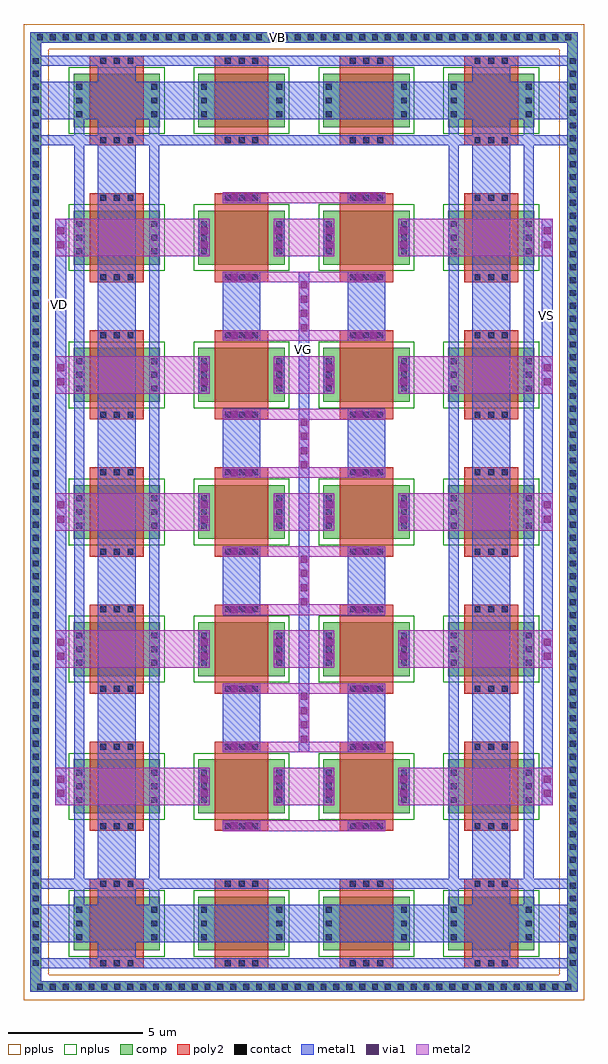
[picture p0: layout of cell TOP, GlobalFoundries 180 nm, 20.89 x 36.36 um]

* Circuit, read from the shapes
.subckt TOP VB VD VG VS
XM1 VB VB VB VB nfet_03v3 w=2u l=2u m=18
XM2 n1 VG VD VB nfet_03v3 w=2u l=2u
XM3 n2 VG VD VB nfet_03v3 w=2u l=2u
XM4 n3 VG VD VB nfet_03v3 w=2u l=2u
XM5 n4 VG VD VB nfet_03v3 w=2u l=2u
XM6 n5 VG VD VB nfet_03v3 w=2u l=2u
XM7 VS VG n1 VB nfet_03v3 w=2u l=2u
XM8 VS VG n2 VB nfet_03v3 w=2u l=2u
XM9 VS VG n3 VB nfet_03v3 w=2u l=2u
XM10 VS VG n4 VB nfet_03v3 w=2u l=2u
XM11 VS VG n5 VB nfet_03v3 w=2u l=2u
.ends

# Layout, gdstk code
from math import pi, radians
import gdstk
lib = gdstk.Library(unit=1e-6, precision=1e-09)
def R(c, l, rs):  # rectangles x0, y0, x1, y1
    for r in rs: c.add(gdstk.rectangle(r[:2], r[2:], *l))
def A(c, l, x, y, w, h, nx, ny, dx, dy):  # array of equal rectangles
    R(c, l, [(x+i*dx, y+j*dy, x+i*dx+w, y+j*dy+h) for i in range(nx) for j in range(ny)])
def P(c, l, *ps):  # polygons
    for p in ps: c.add(gdstk.Polygon(p, *l))
comp = (22, 0)
poly2 = (30, 0)
pplus = (31, 0)
nplus = (32, 0)
contact = (33, 0)
metal1 = (34, 0)
via1 = (35, 0)
metal2 = (36, 0)

nfet = lib.new_cell('nfet')
R(nfet, comp, [(-0.42,0,0,2), (0,0,2.38,2), (2.38,0,2.8,2)])
R(nfet, poly2, [(0.19,-0.66,2.19,-0.3), (0.19,-0.3,2.19,2.3), (0.19,2.3,2.19,2.66)])
R(nfet, nplus, [(-0.59,-0.24,2.97,2.24)])
A(nfet, contact, 0.57, -0.59, 0.22, 0.22, 3, 2, 0.51, 2.96)
A(nfet, contact, -0.32, 0.38, 0.22, 0.22, 1, 3, 0, 0.51)
A(nfet, contact, 2.48, 0.38, 0.22, 0.22, 1, 3, 0, 0.51)
R(nfet, metal1, [(0.49,-0.67,1.89,-0.29), (-0.4,0.3,-0.02,1.7), (2.4,0.3,2.78,1.7), (0.49,2.29,1.89,2.67)])

via_dev = lib.new_cell('via_dev')
R(via_dev, metal1, [(0,0,1.4,0.4)])
R(via_dev, via1, [(0.305,0.07,0.565,0.33), (0.835,0.07,1.095,0.33)])
R(via_dev, metal2, [(0,0,1.4,0.4)])

via_dev_1 = lib.new_cell('via_dev$1')
R(via_dev_1, metal1, [(0,0,2.57,0.4)])
A(via_dev_1, via1, 0.36, 0.07, 0.26, 0.26, 4, 1, 0.53, 0)
R(via_dev_1, metal2, [(0,0,2.57,0.4)])

via_dev_2 = lib.new_cell('via_dev$2')
R(via_dev_2, comp, [(0,0,20.4,0.4)])
A(via_dev_2, contact, 0.25, 0.09, 0.22, 0.22, 42, 1, 0.48, 0)
R(via_dev_2, metal1, [(0,0,20.4,0.4)])

via_dev_3 = lib.new_cell('via_dev$3')
R(via_dev_3, comp, [(0,0,34.48,0.4)])
A(via_dev_3, contact, 0.33, 0.09, 0.22, 0.22, 71, 1, 0.48, 0)
R(via_dev_3, metal1, [(0,0,34.48,0.4)])

top = lib.new_cell('TOP')
R(top, comp, [(-14.75,-24.9,-14.35,-24.59), (5.25,-24.9,5.65,-24.59), (-14.75,9.815,-14.35,10.125), (5.25,9.815,5.65,10.125)])
R(top, pplus, [(-15,-25.565,-14.06,10.795), (-15,-25.565,5.89,-24.625), (4.95,-25.565,5.89,10.795), (-15,9.855,5.89,10.795)])
A(top, metal1, -7.58, -16.335, 1.4, 2.57, 1, 4, 0, 5.11)
A(top, metal1, -2.93, -16.335, 1.4, 2.57, 1, 4, 0, 5.11)
R(top, metal1, [(-14.75,-24.9,-14.35,-24.59), (5.25,-24.9,5.65,-24.59), (-13.82,-18.305,-13.42,3.535), (4.31,-18.305,4.71,3.535), (-4.755,-15.935,-4.355,1.165), (-14.75,9.815,-14.35,10.125), (5.25,9.815,5.65,10.125)])
P(top, metal1, [(-14.75,-24.385),(-14.75,-24.005),(-12.23,-24.005),(-12.23,-23.415),(-10.83,-23.415),(-10.83,-24.005),(1.72,-24.005),(1.72,-23.415),(-14.75,-23.415),(-14.75,-22.015),(-13.12,-22.015),(-13.12,-21.425),(-12.74,-21.425),(-12.74,-22.015),(-12.23,-22.015),(-12.23,-21.425),(-10.83,-21.425),(-10.83,-22.015),(-10.32,-22.015),(-10.32,-21.425),(-9.94,-21.425),(-9.94,-22.015),(0.83,-22.015),(0.83,-21.425),(1.21,-21.425),(1.21,-22.015),(1.72,-22.015),(1.72,-21.425),(3.12,-21.425),(3.12,-22.015),(3.63,-22.015),(3.63,-21.425),(-14.75,-21.425),(-14.75,-21.045),(-13.12,-21.045),(-13.12,6.275),(-12.74,6.275),(-12.74,-21.045),(-12.23,-21.045),(-12.23,6.275),(-10.83,6.275),(-10.83,-21.045),(-10.32,-21.045),(-10.32,6.275),(-9.94,6.275),(-9.94,-21.045),(0.83,-21.045),(0.83,6.275),(1.21,6.275),(1.21,-21.045),(1.72,-21.045),(1.72,6.275),(3.12,6.275),(3.12,-21.045),(3.63,-21.045),(3.63,6.275),(-14.75,6.275),(-14.75,6.655),(-13.12,6.655),(-13.12,7.245),(-12.74,7.245),(-12.74,6.655),(-12.23,6.655),(-12.23,7.245),(-10.83,7.245),(-10.83,6.655),(-10.32,6.655),(-10.32,7.245),(-9.94,7.245),(-9.94,6.655),(0.83,6.655),(0.83,7.245),(1.21,7.245),(1.21,6.655),(1.72,6.655),(1.72,7.245),(3.12,7.245),(3.12,6.655),(3.63,6.655),(3.63,7.245),(-14.75,7.245),(-14.75,8.645),(-12.23,8.645),(-12.23,9.235),(-10.83,9.235),(-10.83,8.645),(1.72,8.645),(1.72,9.235),(-14.75,9.235),(-14.75,9.615),(5.65,9.615),(5.65,9.235),(3.12,9.235),(3.12,8.645),(5.65,8.645),(5.65,7.245),(4.01,7.245),(4.01,6.655),(5.65,6.655),(5.65,6.275),(4.01,6.275),(4.01,-21.045),(5.65,-21.045),(5.65,-21.425),(4.01,-21.425),(4.01,-22.015),(5.65,-22.015),(5.65,-23.415),(3.12,-23.415),(3.12,-24.005),(5.65,-24.005),(5.65,-24.385)])
A(top, metal2, -13.82, -18.305, 5.75, 1.4, 1, 5, 0, 5.11)
A(top, metal2, -5.69, -18.305, 2.27, 1.4, 1, 5, 0, 5.11)
A(top, metal2, -1.04, -18.305, 5.75, 1.4, 1, 5, 0, 5.11)
R(top, metal2, [(-7.58,-19.275,-1.53,-18.875), (-7.58,-16.335,-1.53,-15.935), (-7.58,-14.165,-1.53,-13.765), (-7.58,-11.225,-1.53,-10.825), (-7.58,-9.055,-1.53,-8.655), (-7.58,-6.115,-1.53,-5.715), (-7.58,-3.945,-1.53,-3.545), (-7.58,-1.005,-1.53,-0.605), (-7.58,-1.005,-1.53,-0.605), (-7.58,1.165,-1.53,1.565), (-7.58,1.165,-1.53,1.565), (-7.58,4.125,-1.53,4.525)])
top.add(gdstk.Reference(nfet, (-5.69,-6.385), rotation=pi))
top.add(gdstk.Reference(nfet, (-1.04,-6.385), rotation=pi))
top.add(gdstk.Reference(nfet, (-5.69,-6.385), rotation=pi))
top.add(gdstk.Reference(via_dev, (-8.47,-6.685), rotation=3*pi/2))
top.add(gdstk.Reference(via_dev, (-5.69,-6.685), rotation=3*pi/2))
top.add(gdstk.Reference(via_dev, (-3.82,-6.685), rotation=3*pi/2))
top.add(gdstk.Reference(via_dev, (-1.04,-6.685), rotation=3*pi/2))
top.add(gdstk.Reference(nfet, (-10.34,-6.385), rotation=pi))
top.add(gdstk.Reference(nfet, (-10.34,-6.385), rotation=pi))
top.add(gdstk.Reference(nfet, (3.61,-6.385), rotation=pi))
top.add(gdstk.Reference(nfet, (3.61,-6.385), rotation=pi))
top.add(gdstk.Reference(via_dev, (-13.82,-6.685), rotation=3*pi/2))
top.add(gdstk.Reference(via_dev, (4.31,-6.685), rotation=3*pi/2))
top.add(gdstk.Reference(via_dev_1, (-4.355,-16.335), rotation=pi/2))
top.add(gdstk.Reference(via_dev_1, (-4.355,-11.225), rotation=pi/2))
top.add(gdstk.Reference(via_dev_1, (-4.355,-6.115), rotation=pi/2))
top.add(gdstk.Reference(via_dev_1, (-4.355,-1.005), rotation=pi/2))
top.add(gdstk.Reference(via_dev_2, (5.65,10.495), rotation=pi))
top.add(gdstk.Reference(via_dev_2, (5.65,-24.865), rotation=pi))
top.add(gdstk.Reference(via_dev_3, (5.25,9.855), rotation=3*pi/2))
top.add(gdstk.Reference(via_dev_3, (-14.75,9.855), rotation=3*pi/2))
top.add(gdstk.Reference(nfet, (3.61,-1.275), rotation=pi))
top.add(gdstk.Reference(via_dev, (-3.82,3.535), rotation=3*pi/2))
top.add(gdstk.Reference(via_dev, (-1.04,3.535), rotation=3*pi/2))
top.add(gdstk.Reference(nfet, (-1.04,8.945), rotation=pi))
top.add(gdstk.Reference(nfet, (3.61,8.945), rotation=pi))
top.add(gdstk.Reference(nfet, (3.61,8.945), rotation=pi))
top.add(gdstk.Reference(nfet, (-1.04,-1.275), rotation=pi))
top.add(gdstk.Reference(via_dev, (4.31,-1.575), rotation=3*pi/2))
top.add(gdstk.Reference(nfet, (-1.04,3.835), rotation=pi))
top.add(gdstk.Reference(via_dev, (4.31,3.535), rotation=3*pi/2))
top.add(gdstk.Reference(via_dev, (-2.93,4.125)))
top.add(gdstk.Reference(via_dev, (-2.93,1.165)))
top.add(gdstk.Reference(via_dev, (-2.93,-1.005)))
top.add(gdstk.Reference(via_dev, (-2.93,-3.945)))
top.add(gdstk.Reference(via_dev, (-2.93,-6.115)))
top.add(gdstk.Reference(via_dev, (-3.82,-1.575), rotation=3*pi/2))
top.add(gdstk.Reference(nfet, (3.61,3.835), rotation=pi))
top.add(gdstk.Reference(nfet, (3.61,3.835), rotation=pi))
top.add(gdstk.Reference(via_dev, (-1.04,-1.575), rotation=3*pi/2))
top.add(gdstk.Reference(nfet, (-1.04,-1.275), rotation=pi))
top.add(gdstk.Reference(nfet, (3.61,-1.275), rotation=pi))
top.add(gdstk.Reference(nfet, (3.61,-1.275), rotation=pi))
top.add(gdstk.Reference(nfet, (3.61,-1.275), rotation=pi))
top.add(gdstk.Reference(nfet, (-10.34,-1.275), rotation=pi))
top.add(gdstk.Reference(nfet, (-10.34,-1.275), rotation=pi))
top.add(gdstk.Reference(via_dev, (-8.47,3.535), rotation=3*pi/2))
top.add(gdstk.Reference(via_dev, (-13.82,-1.575), rotation=3*pi/2))
top.add(gdstk.Reference(via_dev, (-5.69,-1.575), rotation=3*pi/2))
top.add(gdstk.Reference(via_dev, (-13.82,3.535), rotation=3*pi/2))
top.add(gdstk.Reference(nfet, (-10.34,-1.275), rotation=pi))
top.add(gdstk.Reference(nfet, (-10.34,-1.275), rotation=pi))
top.add(gdstk.Reference(nfet, (-5.69,-1.275), rotation=pi))
top.add(gdstk.Reference(via_dev, (-7.58,1.165)))
top.add(gdstk.Reference(via_dev, (-7.58,4.125)))
top.add(gdstk.Reference(via_dev, (-5.69,3.535), rotation=3*pi/2))
top.add(gdstk.Reference(nfet, (-5.69,3.835), rotation=pi))
top.add(gdstk.Reference(via_dev, (-7.58,-3.945)))
top.add(gdstk.Reference(via_dev, (-7.58,-1.005)))
top.add(gdstk.Reference(nfet, (-5.69,-1.275), rotation=pi))
top.add(gdstk.Reference(nfet, (-5.69,3.835), rotation=pi))
top.add(gdstk.Reference(via_dev, (-7.58,-6.115)))
top.add(gdstk.Reference(nfet, (-5.69,-1.275), rotation=pi))
top.add(gdstk.Reference(via_dev, (-8.47,-1.575), rotation=3*pi/2))
top.add(gdstk.Reference(nfet, (-5.69,-1.275), rotation=pi))
top.add(gdstk.Reference(nfet, (-10.34,3.835), rotation=pi))
top.add(gdstk.Reference(nfet, (-5.69,8.945), rotation=pi))
top.add(gdstk.Reference(nfet, (-10.34,3.835), rotation=pi))
top.add(gdstk.Reference(nfet, (-5.69,8.945), rotation=pi))
top.add(gdstk.Reference(nfet, (-10.34,8.945), rotation=pi))
top.add(gdstk.Reference(nfet, (-10.34,8.945), rotation=pi))
top.add(gdstk.Reference(nfet, (-5.69,-16.605), rotation=pi))
top.add(gdstk.Reference(nfet, (-10.34,-11.495), rotation=pi))
top.add(gdstk.Reference(nfet, (-10.34,-16.605), rotation=pi))
top.add(gdstk.Reference(nfet, (-10.34,-11.495), rotation=pi))
top.add(gdstk.Reference(nfet, (-5.69,-11.495), rotation=pi))
top.add(gdstk.Reference(nfet, (-5.69,-11.495), rotation=pi))
top.add(gdstk.Reference(via_dev, (-8.47,-11.795), rotation=3*pi/2))
top.add(gdstk.Reference(nfet, (-5.69,-11.495), rotation=pi))
top.add(gdstk.Reference(via_dev, (-5.69,-11.795), rotation=3*pi/2))
top.add(gdstk.Reference(nfet, (-5.69,-21.715), rotation=pi))
top.add(gdstk.Reference(nfet, (-5.69,-21.715), rotation=pi))
top.add(gdstk.Reference(nfet, (-10.34,-21.715), rotation=pi))
top.add(gdstk.Reference(via_dev, (-7.58,-9.055)))
top.add(gdstk.Reference(nfet, (-5.69,-11.495), rotation=pi))
top.add(gdstk.Reference(via_dev, (-7.58,-14.165)))
top.add(gdstk.Reference(via_dev, (-7.58,-11.225)))
top.add(gdstk.Reference(via_dev, (-7.58,-19.275)))
top.add(gdstk.Reference(via_dev, (-7.58,-16.335)))
top.add(gdstk.Reference(via_dev, (-8.47,-16.905), rotation=3*pi/2))
top.add(gdstk.Reference(via_dev, (-5.69,-16.905), rotation=3*pi/2))
top.add(gdstk.Reference(nfet, (-5.69,-16.605), rotation=pi))
top.add(gdstk.Reference(nfet, (-10.34,-21.715), rotation=pi))
top.add(gdstk.Reference(nfet, (-10.34,-11.495), rotation=pi))
top.add(gdstk.Reference(nfet, (-10.34,-16.605), rotation=pi))
top.add(gdstk.Reference(nfet, (-10.34,-11.495), rotation=pi))
top.add(gdstk.Reference(via_dev, (-13.82,-11.795), rotation=3*pi/2))
top.add(gdstk.Reference(via_dev, (-13.82,-16.905), rotation=3*pi/2))
top.add(gdstk.Reference(nfet, (3.61,-21.715), rotation=pi))
top.add(gdstk.Reference(nfet, (3.61,-21.715), rotation=pi))
top.add(gdstk.Reference(nfet, (3.61,-11.495), rotation=pi))
top.add(gdstk.Reference(nfet, (3.61,-11.495), rotation=pi))
top.add(gdstk.Reference(via_dev, (-1.04,-16.905), rotation=3*pi/2))
top.add(gdstk.Reference(via_dev, (-1.04,-11.795), rotation=3*pi/2))
top.add(gdstk.Reference(nfet, (3.61,-16.605), rotation=pi))
top.add(gdstk.Reference(nfet, (-1.04,-11.495), rotation=pi))
top.add(gdstk.Reference(nfet, (-1.04,-21.715), rotation=pi))
top.add(gdstk.Reference(via_dev, (-2.93,-9.055)))
top.add(gdstk.Reference(nfet, (-1.04,-16.605), rotation=pi))
top.add(gdstk.Reference(via_dev, (-2.93,-14.165)))
top.add(gdstk.Reference(via_dev, (-2.93,-11.225)))
top.add(gdstk.Reference(via_dev, (-2.93,-19.275)))
top.add(gdstk.Reference(via_dev, (-2.93,-16.335)))
top.add(gdstk.Reference(via_dev, (4.31,-11.795), rotation=3*pi/2))
top.add(gdstk.Reference(via_dev, (4.31,-16.905), rotation=3*pi/2))
top.add(gdstk.Reference(nfet, (-1.04,-11.495), rotation=pi))
top.add(gdstk.Reference(nfet, (3.61,-16.605), rotation=pi))
top.add(gdstk.Reference(via_dev, (-3.82,-11.795), rotation=3*pi/2))
top.add(gdstk.Reference(via_dev, (-3.82,-16.905), rotation=3*pi/2))
top.add(gdstk.Reference(nfet, (3.61,-11.495), rotation=pi))
top.add(gdstk.Reference(nfet, (3.61,-11.495), rotation=pi))
top.add(gdstk.Label('VD', (-13.655,0.335), layer=34, texttype=10))
top.add(gdstk.Label('VS', (4.47,-0.055), layer=34, texttype=10))
top.add(gdstk.Label('VG', (-4.59,-1.345), layer=34, texttype=10))
top.add(gdstk.Label('VB', (-5.54,10.28), layer=34, texttype=10))

lib.write_gds('TOP.gds')
